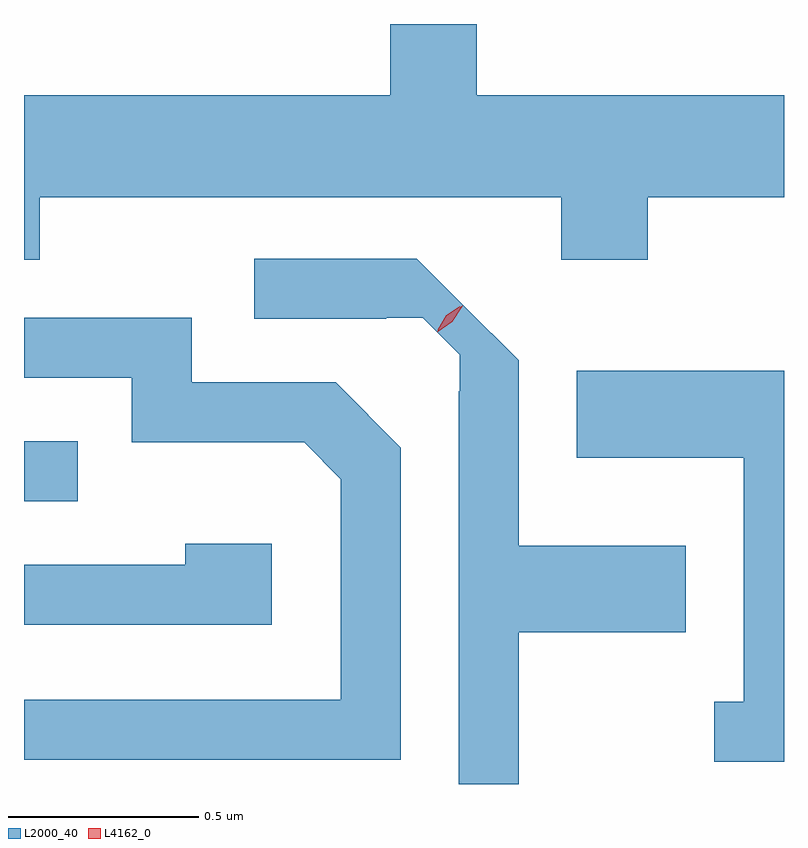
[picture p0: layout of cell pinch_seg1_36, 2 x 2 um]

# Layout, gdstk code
import gdstk
lib = gdstk.Library(unit=1e-6, precision=1e-09)
def R(c, l, rs):  # rectangles x0, y0, x1, y1
    for r in rs: c.add(gdstk.rectangle(r[:2], r[2:], *l))
def P(c, l, *ps):  # polygons
    for p in ps: c.add(gdstk.Polygon(p, *l))
L2000_40 = (2000, 40)
L4162_0 = (4162, 0)

pinch_seg1_36 = lib.new_cell('pinch_seg1_36')
R(pinch_seg1_36, L2000_40, [(1098.277,903.216,1098.418,903.374)])
P(pinch_seg1_36, L2000_40, [(1098.319,904.016),(1099.691,904.016),(1099.691,903.851),(1099.919,903.851),(1099.919,904.016),(1100.277,904.016),(1100.277,904.284),(1099.469,904.284),(1099.469,904.472),(1099.241,904.472),(1099.241,904.284),(1098.277,904.284),(1098.277,903.851),(1098.319,903.851)],
  [(1099.579,902.871),(1100.019,902.871),(1100.019,903.099),(1099.579,903.099),(1099.579,903.587),(1099.508,903.658),(1099.507,903.658),(1099.311,903.854),(1098.883,903.854),(1098.883,903.696),(1099.23,903.696),(1099.23,903.699),(1099.326,903.699),(1099.424,903.601),(1099.424,903.505),(1099.421,903.505),(1099.421,902.472),(1099.579,902.472)],
  [(1099.269,903.357),(1099.097,903.529),(1098.719,903.529),(1098.719,903.699),(1098.277,903.699),(1098.277,903.541),(1098.561,903.541),(1098.561,903.371),(1099.014,903.371),(1099.111,903.274),(1099.111,902.694),(1098.277,902.694),(1098.277,902.536),(1099.269,902.536)],
  [(1100.277,903.559),(1099.731,903.559),(1099.731,903.331),(1100.171,903.331),(1100.171,902.689),(1100.093,902.689),(1100.093,902.531),(1100.277,902.531)],
  [(1098.929,903.104),(1098.701,903.104),(1098.701,903.049),(1098.277,903.049),(1098.277,902.891),(1098.929,902.891)])
P(pinch_seg1_36, L4162_0, [(1099.364,903.661),(1099.364,903.662),(1099.39,903.703),(1099.43,903.731),(1099.431,903.731),(1099.431,903.73),(1099.404,903.689),(1099.364,903.661)],
  [(1099.366,903.667),(1099.366,903.668),(1099.388,903.705),(1099.424,903.729),(1099.424,903.729),(1099.424,903.728),(1099.402,903.691),(1099.366,903.667)])

lib.write_gds('pinch_seg1_36.gds')
